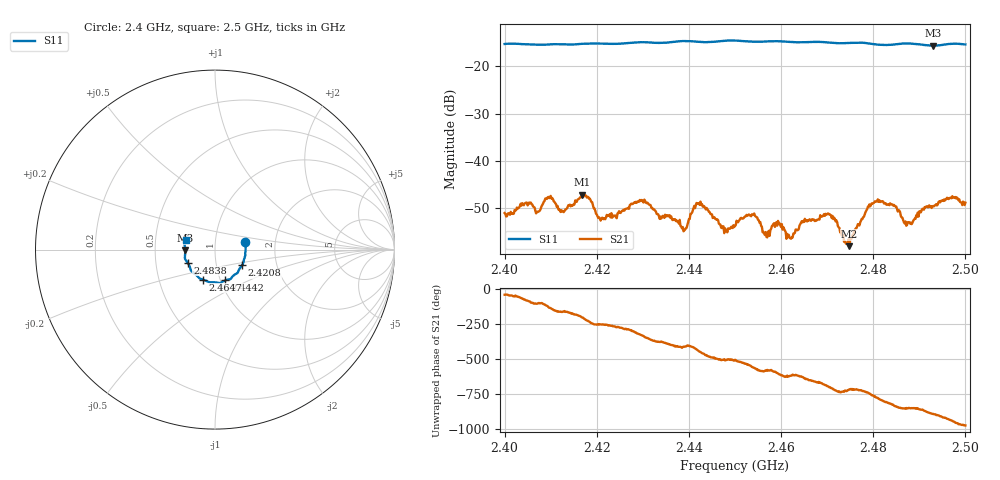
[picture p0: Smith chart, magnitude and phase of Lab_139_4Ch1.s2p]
# Hz S RI R 50
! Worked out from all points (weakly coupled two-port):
!   601 points, 2.4 GHz to 2.5 GHz, reference 50 ohm
!   highest |S21| = -47.24 dB at 2.4168 GHz (marker M1); lowest = -58.1 dB at 2.4748 GHz (marker M2)
!   lowest |S11| = -15.6 dB at 2.493 GHz (marker M3), VSWR 1.40, Z = 35.8 - j0.218 ohm
!   |S11| at or under -10 dB: start of sweep to end of sweep
!   S12 and S22 are empty: the file has one direction only
!   S11 on the Smith chart (normalised r, x): 2.4 GHz: 1.40, +0.12; 2.4208 GHz: 1.33, -0.24; 2.4442 GHz: 1.05, -0.37; 2.4647 GHz: 0.83, -0.29; 2.4838 GHz: 0.73, -0.11; 2.5 GHz: 0.72, +0.08
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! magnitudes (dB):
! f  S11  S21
! 2.4 GHz  -15.3  -51.1
! 2.4167 GHz  -15.2  -47.8
! 2.4168 GHz  -15.2  -47.2
! 2.4208 GHz  -15.2  -52.7
! 2.4293 GHz  -14.9  -48.3
! 2.4333 GHz  -15.0  -51.4
! 2.439 GHz  -14.6  -54.8
! 2.4417 GHz  -14.8  -49.0
! 2.4442 GHz  -14.9  -50.5
! 2.45 GHz  -14.5  -53.8
! 2.4542 GHz  -14.8  -51.2
! 2.462 GHz  -14.8  -56.4
! 2.4647 GHz  -14.9  -53.1
! 2.4667 GHz  -14.8  -52.5
! 2.4707 GHz  -15.0  -51.5
! 2.4748 GHz  -15.0  -58.1
! 2.4793 GHz  -15.2  -49.7
! 2.4833 GHz  -15.5  -49.3
! 2.4838 GHz  -15.4  -49.2
! 2.4877 GHz  -15.2  -53.1
! 2.493 GHz  -15.6  -49.6
! 2.5 GHz  -15.4  -48.9
